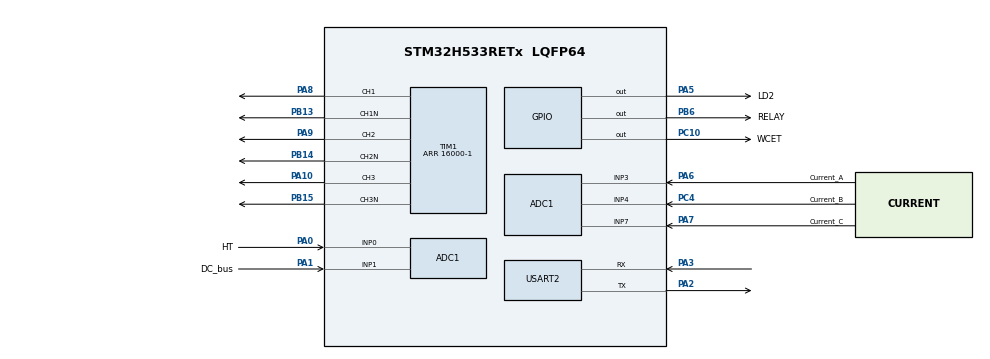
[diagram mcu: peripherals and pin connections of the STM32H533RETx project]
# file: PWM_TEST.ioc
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ADC1.AWD2HighThreshold=0x3FFFFF
ADC1.AWD2ITMode=ENABLE
ADC1.Channel-0\#ChannelRegularConversion=ADC_CHANNEL_0
ADC1.EOCSelection=ADC_EOC_SEQ_CONV
ADC1.EnableAnalogWatchDog1=false
ADC1.EnableAnalogWatchDog2=true
ADC1.EnableInjectedConversion=ENABLE
ADC1.ExternalTrigInjecConv=ADC_EXTERNALTRIGINJEC_T1_TRGO
ADC1.InjAWDChannel-3\#ChannelInjectedConversion=ADC_CHANNEL_3
ADC1.InjAWDChannel-4\#ChannelInjectedConversion=ADC_CHANNEL_4
ADC1.InjAWDChannel-5\#ChannelInjectedConversion=ADC_CHANNEL_7
ADC1.InjMonitoredBy-2\#ChannelInjectedConversion=__NULL
ADC1.InjMonitoredBy-3\#ChannelInjectedConversion=ADC_ANALOGWATCHDOG_2
ADC1.InjMonitoredBy-4\#ChannelInjectedConversion=ADC_ANALOGWATCHDOG_2
ADC1.InjMonitoredBy-5\#ChannelInjectedConversion=ADC_ANALOGWATCHDOG_2
ADC1.InjNumberOfConversion=4
ADC1.InjWDG2ChannelR2=ADC_CHANNEL_3_INJ
ADC1.InjWDG2ChannelR3=ADC_CHANNEL_4_INJ
ADC1.InjWDG2ChannelR4=ADC_CHANNEL_7_INJ
ADC1.InjectedChannel-2\#ChannelInjectedConversion=ADC_CHANNEL_1
ADC1.InjectedChannel-3\#ChannelInjectedConversion=ADC_CHANNEL_3
ADC1.InjectedChannel-4\#ChannelInjectedConversion=ADC_CHANNEL_4
ADC1.InjectedChannel-5\#ChannelInjectedConversion=ADC_CHANNEL_7
ADC1.InjectedConvMode=None
ADC1.InjectedOffsetNumber-2\#ChannelInjectedConversion=ADC_OFFSET_NONE
ADC1.InjectedOffsetNumber-3\#ChannelInjectedConversion=ADC_OFFSET_NONE
ADC1.InjectedOffsetNumber-4\#ChannelInjectedConversion=ADC_OFFSET_NONE
ADC1.InjectedOffsetNumber-5\#ChannelInjectedConversion=ADC_OFFSET_NONE
ADC1.InjectedRank-2\#ChannelInjectedConversion=1
ADC1.InjectedRank-3\#ChannelInjectedConversion=2
ADC1.InjectedRank-4\#ChannelInjectedConversion=3
ADC1.InjectedRank-5\#ChannelInjectedConversion=4
ADC1.InjectedSamplingTime-2\#ChannelInjectedConversion=ADC_SAMPLETIME_47CYCLES_5
ADC1.InjectedSamplingTime-3\#ChannelInjectedConversion=ADC_SAMPLETIME_47CYCLES_5
ADC1.InjectedSamplingTime-4\#ChannelInjectedConversion=ADC_SAMPLETIME_47CYCLES_5
ADC1.InjectedSamplingTime-5\#ChannelInjectedConversion=ADC_SAMPLETIME_47CYCLES_5
ADC1.MonitoredBy-0\#ChannelRegularConversion=__NULL
ADC1.NbrOfConversion=1
ADC1.NbrOfConversionFlag=1
ADC1.OffsetNumber-0\#ChannelRegularConversion=ADC_OFFSET_NONE
ADC1.Overrun=ADC_OVR_DATA_OVERWRITTEN
ADC1.Rank-0\#ChannelRegularConversion=1
ADC1.SamplingTime-0\#ChannelRegularConversion=ADC_SAMPLETIME_640CYCLES_5
ADC1.injectedQueueMode=DISABLE
ADC1.master=1
BOOTPATH.BootPathName=LEGACY
BOOTPATH.UserSelectedBootPath=LEGACY
CORTEX_M33_NS.Number-Cortex_Memory_Protection_Unit_Region0_OTP_RO_AREAS_Settings=MPU_REGION_NUMBER0
CORTEX_M33_NS.default_mode_Activation=1
CORTEX_M33_NS.userName=CORTEX_M33
GPDMA1.CIRCULARMODE_GPDMACH0=DISABLE
GPDMA1.CIRCULARMODE_GPDMACH1=DISABLE
GPDMA1.DESTINC_GPDMACH0=DMA_DINC_FIXED
GPDMA1.DESTINC_GPDMACH1=DMA_DINC_INCREMENTED
GPDMA1.DIRECTION_GPDMACH0=DMA_MEMORY_TO_PERIPH
GPDMA1.IPHANDLE_GPDMACH0-SIMPLEREQUEST_GPDMACH0=__NULL
GPDMA1.IPHANDLE_GPDMACH1-SIMPLEREQUEST_GPDMACH1=__NULL
GPDMA1.REQUEST_GPDMACH0=GPDMA1_REQUEST_USART2_TX
GPDMA1.REQUEST_GPDMACH1=GPDMA1_REQUEST_USART2_RX
GPDMA1.SRCINC_GPDMACH0=DMA_SINC_INCREMENTED
GPDMA1.TRIGGERPOLARITY_GPDMACH0=DMA_TRIG_POLARITY_MASKED
Mcu.Family=STM32H5
Mcu.Name=STM32H533RETx
Mcu.Package=LQFP64
NVIC.ADC1_IRQn=true\:0\:0\:false\:false\:false\:true\:true\:true
NVIC.GPDMA1_Channel0_IRQn=true\:0\:0\:false\:false\:false\:false\:true\:true
NVIC.GPDMA1_Channel1_IRQn=true\:0\:0\:false\:false\:false\:false\:true\:true
NVIC.PriorityGroup=NVIC_PRIORITYGROUP_4
NVIC.TIM1_UP_IRQn=true\:0\:0\:false\:false\:false\:true\:true\:true
NVIC.USART2_IRQn=true\:0\:0\:false\:false\:false\:true\:true\:true
PA0.GPIO_Label=HT
PA0.Signal=ADCx_INP0
PA1.GPIO_Label=DC_bus
PA1.Signal=ADCx_INP1
PA10.Signal=S_TIM1_CH3
PA13(JTMS/SWDIO).GPIO_Label=SWDIO
PA13(JTMS/SWDIO).Mode=Trace_Asynchronous_SW
PA13(JTMS/SWDIO).Signal=DEBUG_JTMS-SWDIO
PA14(JTCK/SWCLK).GPIO_Label=SWCLK
PA14(JTCK/SWCLK).Mode=Trace_Asynchronous_SW
PA14(JTCK/SWCLK).Signal=DEBUG_JTCK-SWCLK
PA2.Mode=Asynchronous
PA2.Signal=USART2_TX
PA3.Mode=Asynchronous
PA3.Signal=USART2_RX
PA5.GPIO_Label=LD2
PA5.Signal=GPIO_Output
PA6.GPIO_Label=Current_A
PA6.Signal=ADCx_INP3
PA7.GPIO_Label=Current_C
PA7.Signal=ADCx_INP7
PA8.Signal=S_TIM1_CH1
PA9.Signal=S_TIM1_CH2
PB13.Mode=PWM Generation1 CH1 CH1N
PB13.Signal=TIM1_CH1N
PB14.Mode=PWM Generation2 CH2 CH2N
PB14.Signal=TIM1_CH2N
PB15.Mode=PWM Generation3 CH3 CH3N
PB15.Signal=TIM1_CH3N
PB3(JTDO/TRACESWO).GPIO_Label=SWO
PB3(JTDO/TRACESWO).Mode=Trace_Asynchronous_SW
PB3(JTDO/TRACESWO).Signal=DEBUG_JTDO-SWO
PB6.GPIO_Label=RELAY
PB6.Signal=GPIO_Output
PC10.GPIO_Label=WCET
PC10.Signal=GPIO_Output
PC4.GPIO_Label=Current_B
PC4.Signal=ADCx_INP4
ProjectManager.HeapSize=0x200
ProjectManager.StackSize=0x1000
ProjectManager.TargetToolchain=CMake
RCC.ADCFreq_Value=32000000
RCC.AHBCLKDivider=RCC_SYSCLK_DIV2
RCC.AHBFreq_Value=32000000
RCC.APB1Freq_Value=32000000
RCC.APB1TimFreq_Value=32000000
RCC.APB2Freq_Value=32000000
RCC.APB2TimFreq_Value=32000000
RCC.APB3Freq_Value=32000000
RCC.CSI_VALUE=4000000
RCC.CortexFreq_Value=32000000
RCC.EPOD_VALUE=4000000
RCC.HCLKFreq_Value=32000000
RCC.HSE_VALUE=25000000
RCC.HSI48_VALUE=48000000
RCC.HSIDiv=RCC_HSI_DIV1
RCC.HSI_VALUE=64000000
RCC.LSE_VALUE=32768
RCC.LSIRC_VALUE=32000
RCC.PLL2FRACN=0
RCC.PLL3FRACN=0
RCC.PLLFRACN=0
RCC.PLLN=32
RCC.SYSCLKFreq_VALUE=64000000
RCC.USBFreq_Value=48000000
RCC.VCOOutputFreq_Value=128000000
SH.ADCx_INP0.0=ADC1_INP0,IN0-Single-Ended
SH.ADCx_INP1.0=ADC1_INP1,IN1-Single-Ended
SH.ADCx_INP3.0=ADC1_INP3,IN3-Single-Ended
SH.ADCx_INP4.0=ADC1_INP4,IN4-Single-Ended
SH.ADCx_INP7.0=ADC1_INP7,IN7-Single-Ended
SH.S_TIM1_CH1.0=TIM1_CH1,PWM Generation1 CH1 CH1N
SH.S_TIM1_CH2.0=TIM1_CH2,PWM Generation2 CH2 CH2N
SH.S_TIM1_CH3.0=TIM1_CH3,PWM Generation3 CH3 CH3N
STMicroelectronics.X-CUBE-ALGOBUILD.1.5.0.LibraryCcDSPOoLibraryJjDSPOoLibrary=true
TIM1.AutoReloadPreload=TIM_AUTORELOAD_PRELOAD_ENABLE
TIM1.AutomaticOutput=TIM_AUTOMATICOUTPUT_DISABLE
TIM1.Break2State=TIM_BREAK2_DISABLE
TIM1.BreakPolarity=TIM_BREAKPOLARITY_LOW
TIM1.BreakState=TIM_BREAK_DISABLE
TIM1.Channel-PWM\ Generation1\ CH1\ CH1N=TIM_CHANNEL_1
TIM1.Channel-PWM\ Generation2\ CH2\ CH2N=TIM_CHANNEL_2
TIM1.Channel-PWM\ Generation3\ CH3\ CH3N=TIM_CHANNEL_3
TIM1.CounterMode=TIM_COUNTERMODE_CENTERALIGNED2
TIM1.DeadTime=255
TIM1.OCNPolarity_1=TIM_OCNPOLARITY_LOW
TIM1.OCNPolarity_2=TIM_OCNPOLARITY_LOW
TIM1.OCNPolarity_3=TIM_OCNPOLARITY_LOW
TIM1.OffStateIDLEMode=TIM_OSSI_ENABLE
TIM1.OffStateRunMode=TIM_OSSR_ENABLE
TIM1.PeriodNoDither=16000-1
TIM1.RepetitionCounter=1
TIM1.TIM_MasterOutputTrigger=TIM_TRGO_UPDATE
USART2.FIFOMode=FIFOMODE_DISABLE
USART2.VirtualMode-Asynchronous=VM_ASYNC
VP_BOOTPATH_VS_BOOTPATH.Mode=BP_Activate
VP_CORTEX_M33_NS_VS_Hclk.Mode=Hclk_Mode
VP_GPDMA1_VS_GPDMACH0.Mode=SIMPLEREQUEST_GPDMACH0
VP_GPDMA1_VS_GPDMACH1.Mode=SIMPLEREQUEST_GPDMACH1
VP_ICACHE_VS_ICACHE.Mode=DirectMappedCache
VP_MEMORYMAP_VS_MEMORYMAP.Mode=CurAppReg
VP_PWR_VS_LPOM.Mode=PowerOptimisation
VP_PWR_VS_SECSignals.Mode=Security/Privilege
VP_STMicroelectronics.X-CUBE-ALGOBUILD_VS_DSPOoLibraryJjLibrary_1.5.0_1.5.0.Mode=DSPOoLibraryJjLibrary
VP_TIM1_VS_ClockSourceINT.Mode=Internal
board=NUCLEO-H533RE

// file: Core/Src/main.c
/* USER CODE BEGIN Header */
/**
  ******************************************************************************
  * @file           : main.c
  * @brief          : Main program body
  ******************************************************************************
  * @attention
  *
  * Copyright (c) 2026 STMicroelectronics.
  * All rights reserved.
  *
  * This software is licensed under terms that can be found in the LICENSE file
  * in the root directory of this software component.
  * If no LICENSE file comes with this software, it is provided AS-IS.
  *
  ******************************************************************************
  */
/* USER CODE END Header */
#include "main.h"
#include "adc.h"
#include "gpdma.h"
#include "icache.h"
#include "tim.h"
#include "usart.h"
#include "gpio.h"

/* USER CODE BEGIN Includes */
#include <arm_math.h>
#include "Logger.h"
#include <stdint.h>
#include "SysTickWrapper.h"
#include "qkernel.h"
#include "MainSM.h"
/* USER CODE END Includes */

void SystemClock_Config(void);
static void MPU_Config(void);

/* USER CODE BEGIN 0 */

void LED_TASK(void)
{
  LL_GPIO_TogglePin(LD2_GPIO_Port, LD2_Pin);
}

void UART_PrintCharPolling(void *sp , const char c)
{
  (void)sp;

  while(!LL_USART_IsActiveFlag_TXE(USART2))
	  ;

	LL_USART_TransmitData8(USART2, c);
}
/* USER CODE END 0 */

int main(void)
{

  /* MCU Configuration--------------------------------------------------------*/

  /* Reset of all peripherals, Initializes the Flash interface and the Systick. */

  /* MPU Configuration--------------------------------------------------------*/
  MPU_Config();

  /* System interrupt init*/
  NVIC_SetPriorityGrouping(NVIC_PRIORITYGROUP_4);

  /* SysTick_IRQn interrupt configuration */
  NVIC_SetPriority(SysTick_IRQn, NVIC_EncodePriority(NVIC_GetPriorityGrouping(),15, 0));

  /* Configure the system clock */
  SystemClock_Config();

  /* Initialize all configured peripherals */
  MX_GPIO_Init();
  MX_GPDMA1_Init();
  MX_ICACHE_Init();
  MX_TIM1_Init();
  MX_ADC1_Init();
  MX_USART2_UART_Init();
  /* USER CODE BEGIN 2 */
  SysTick_Init();

  qOS_Setup(getSysTick, NULL);
  Enter_MainStateMachine();
  /* USER CODE END 2 */

  /* Infinite loop */
  /* USER CODE BEGIN WHILE */
  while (1)
  {
    // if(GenerateVoltage_IsTaskReady())
    // {
    //   GenerateVoltage_Task();
    // }
    qOS_Run();

    /* USER CODE END WHILE */

  }
}

void SystemClock_Config(void)
{
  LL_FLASH_SetLatency(LL_FLASH_LATENCY_3);
  while(LL_FLASH_GetLatency()!= LL_FLASH_LATENCY_3)
  {
  }

  LL_PWR_SetRegulVoltageScaling(LL_PWR_REGU_VOLTAGE_SCALE3);
  while (LL_PWR_IsActiveFlag_VOS() == 0)
  {
  }
  LL_RCC_HSI_Enable();

   /* Wait till HSI is ready */
  while(LL_RCC_HSI_IsReady() != 1)
  {
  }

  LL_RCC_HSI_SetCalibTrimming(64);
  LL_RCC_HSI_SetDivider(LL_RCC_HSI_DIV_1);
  LL_RCC_SetSysClkSource(LL_RCC_SYS_CLKSOURCE_HSI);

   /* Wait till System clock is ready */
  while(LL_RCC_GetSysClkSource() != LL_RCC_SYS_CLKSOURCE_STATUS_HSI)
  {
  }

  LL_RCC_SetAHBPrescaler(LL_RCC_SYSCLK_DIV_2);
  LL_RCC_SetAPB1Prescaler(LL_RCC_APB1_DIV_1);
  LL_RCC_SetAPB2Prescaler(LL_RCC_APB2_DIV_1);
  LL_RCC_SetAPB3Prescaler(LL_RCC_APB3_DIV_1);

  LL_Init1msTick(32000000);

  LL_SetSystemCoreClock(32000000);
}

 /* MPU Configuration */

void MPU_Config(void)
{

  /* Disables the MPU */
  LL_MPU_Disable();

  /** Initializes and configures the Region 0 and the memory to be protected
  */
  LL_MPU_ConfigRegion(LL_MPU_REGION_NUMBER0, LL_MPU_REGION_ALL_RO|LL_MPU_INSTRUCTION_ACCESS_DISABLE|LL_MPU_ACCESS_NOT_SHAREABLE, LL_MPU_ATTRIBUTES_NUMBER0, 0x08FFF000, 0x08FFFFFF);
  LL_MPU_EnableRegion(LL_MPU_REGION_NUMBER0);

  /** Initializes and configures the Attribute 0 and the memory to be protected
  */
  LL_MPU_ConfigAttributes(LL_MPU_ATTRIBUTES_NUMBER0, LL_MPU_NOT_CACHEABLE);
  /* Enables the MPU */
  LL_MPU_Enable(LL_MPU_CTRL_PRIVILEGED_DEFAULT);

}

void Error_Handler(void)
{
  __disable_irq();
  while (1)
  {
  }
}
